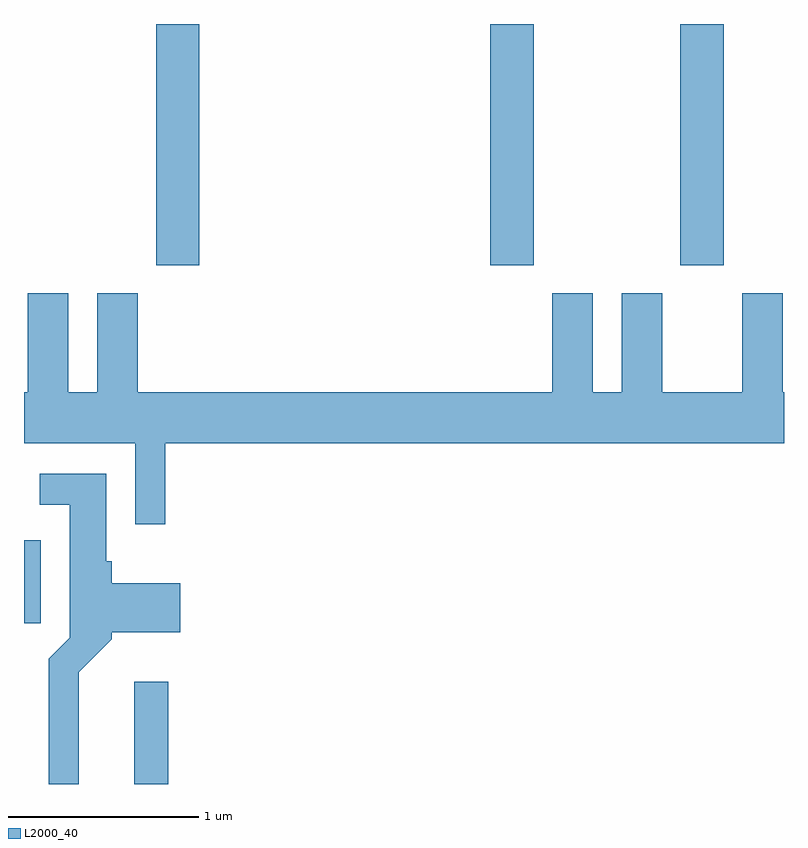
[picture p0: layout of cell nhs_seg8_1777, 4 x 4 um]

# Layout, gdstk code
import gdstk
lib = gdstk.Library(unit=1e-6, precision=1e-09)
def R(c, l, rs):  # rectangles x0, y0, x1, y1
    for r in rs: c.add(gdstk.rectangle(r[:2], r[2:], *l))
def P(c, l, *ps):  # polygons
    for p in ps: c.add(gdstk.Polygon(p, *l))
L2000_40 = (2000, 40)

nhs_seg8_1777 = lib.new_cell('nhs_seg8_1777')
R(nhs_seg8_1777, L2000_40, [(238.191,1892.342,238.369,1892.879), (237.611,1893.188,237.699,1893.624), (238.306,1895.071,238.534,1896.342), (240.066,1895.071,240.294,1896.342), (241.066,1895.071,241.294,1896.342)])
P(nhs_seg8_1777, L2000_40, [(238.354,1894.136),(241.611,1894.136),(241.611,1894.404),(241.604,1894.404),(241.604,1894.924),(241.391,1894.924),(241.391,1894.404),(240.969,1894.404),(240.969,1894.924),(240.756,1894.924),(240.756,1894.404),(240.604,1894.404),(240.604,1894.924),(240.391,1894.924),(240.391,1894.404),(238.209,1894.404),(238.209,1894.924),(237.996,1894.924),(237.996,1894.404),(237.844,1894.404),(237.844,1894.924),(237.631,1894.924),(237.631,1894.404),(237.611,1894.404),(237.611,1894.136),(238.196,1894.136),(238.196,1893.708),(238.354,1893.708)],
  [(237.899,1892.929),(238.074,1893.104),(238.074,1893.141),(238.434,1893.141),(238.434,1893.399),(238.074,1893.399),(238.074,1893.514),(238.044,1893.514),(238.044,1893.974),(237.693,1893.974),(237.693,1893.811),(237.851,1893.811),(237.851,1893.112),(237.741,1893.002),(237.741,1892.342),(237.899,1892.342)])

lib.write_gds('nhs_seg8_1777.gds')
